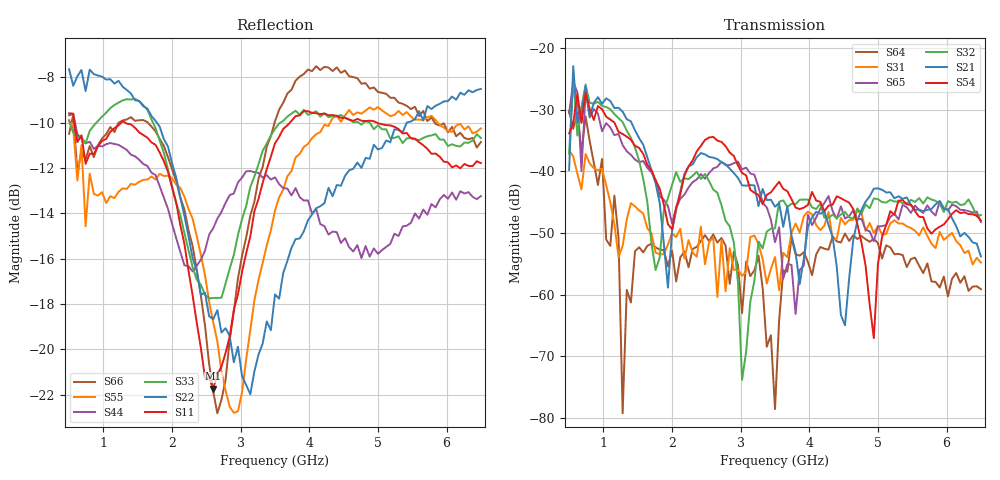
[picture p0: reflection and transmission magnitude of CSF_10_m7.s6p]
!Keysight Technologies,M9804A,MY58100912,A.14.10.03
!Date: Thursday, April 27, 2023 10:28:33
!Correction: S11(C  6-Port  )
!S12(C  6-Port  )
!S13(C  6-Port  )
!S14(C  6-Port  )
!S15(C  6-Port  )
!S16(C  6-Port  )
!S21(C  6-Port  )
!S22(C  6-Port  )
!S23(C  6-Port  )
!S24(C  6-Port  )
!S25(C  6-Port  )
!S26(C  6-Port  )
!S31(C  6-Port  )
!S32(C  6-Port  )
!S33(C  6-Port  )
!S34(C  6-Port  )
!S35(C  6-Port  )
!S36(C  6-Port  )
!S41(C  6-Port  )
!S42(C  6-Port  )
!S43(C  6-Port  )
!S44(C  6-Port  )
!S45(C  6-Port  )
!S46(C  6-Port  )
!S51(C  6-Port  )
!S52(C  6-Port  )
!S53(C  6-Port  )
!S54(C  6-Port  )
!S55(C  6-Port  )
!S56(C  6-Port  )
!S61(C  6-Port  )
!S62(C  6-Port  )
!S63(C  6-Port  )
!S64(C  6-Port  )
!S65(C  6-Port  )
!S66(C  6-Port  )
!S6P File: Measurement: :
# Hz S  RI  R 50
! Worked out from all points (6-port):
!   101 points, 500 MHz to 6.5 GHz, reference 50 ohm
!   strongest paths, dB at 500 MHz, 2 GHz, 3.5 GHz, 5 GHz, 6.5 GHz:
!     S54: -33.8, -49.4, -42.5, -55.1, -48.0
!     S21: -39.8, -49.7, -45.7, -42.8, -53.8
!     S32: -37.1, -42.2, -49.2, -44.5, -47.1
!     S65: -30.6, -48.5, -51.5, -49.0, -48.2
!     S31: -36.6, -50.1, -53.9, -48.9, -54.8
!     S64: -30.3, -52.9, -78.6, -51.7, -59.1
!   lowest |S11| = -21.7 dB at 2.6 GHz (marker M1), VSWR 1.18, Z = 42.7 + j2 ohm
!   |S11| at or under -10 dB: 579.1 MHz to 1.26 GHz (680.4 MHz wide, 74 % of centre); 1.314 GHz to 3.717 GHz (2.403 GHz wide, 95.5 % of centre); 4.982 GHz to end of sweep
